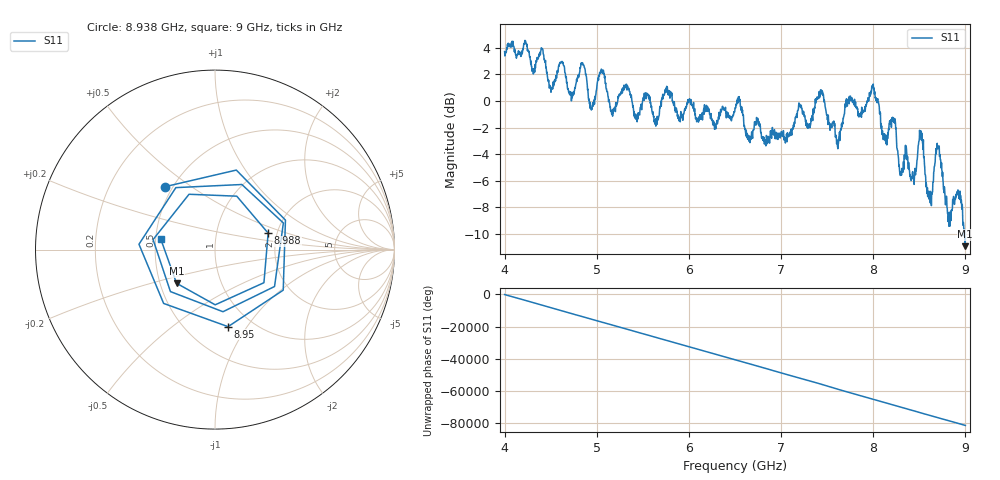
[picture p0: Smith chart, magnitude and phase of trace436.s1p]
! Created with skrf 1.8.0 (http://scikit-rf.org).
# Hz S RI R 50.0
!freq ReS11 ImS11
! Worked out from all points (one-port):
!   1601 points, 4 GHz to 9 GHz, reference 50 ohm
!   lowest |S11| = -10.9 dB at 8.997 GHz (marker M1), VSWR 1.80, Z = 30.4 - j12.4 ohm
!   |S11| at or under -10 dB: 8.985802 GHz to 8.98899 GHz (3.188 MHz wide, 0.0355 % of centre); 8.992772 GHz to end of sweep
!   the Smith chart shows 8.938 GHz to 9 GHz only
!   S11 on the Smith chart (normalised r, x): 8.938 GHz: 0.46, +0.40; 8.95 GHz: 0.78, -0.82; 8.988 GHz: 1.79, +0.36; 9 GHz: 0.53, +0.07
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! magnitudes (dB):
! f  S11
! 4 GHz  3.7
! 4.4 GHz  4.0
! 4.506 GHz  0.8
! 4.625 GHz  3.0
! 4.728 GHz  0.4
! 4.85 GHz  2.7
! 4.944 GHz  -0.6
! 5.05 GHz  2.4
! 5.162 GHz  -1.0
! 5.25 GHz  0.5
! 5.875 GHz  -1.2
! 6.5 GHz  -0.6
! 7.125 GHz  -2.1
! 7.434 GHz  0.5
! 7.612 GHz  -3.4
! 7.75 GHz  0.3
! 8 GHz  1.3
! 8.375 GHz  -4.4
! 8.438 GHz  -5.7
! 8.519 GHz  -2.3
! 8.606 GHz  -7.4
! 8.7 GHz  -3.4
! 8.825 GHz  -8.4
! 8.938 GHz  -7.0
! 8.95 GHz  -7.2
! 8.988 GHz  -10.2
! 8.997 GHz  -10.9
! 9 GHz  -10.2
